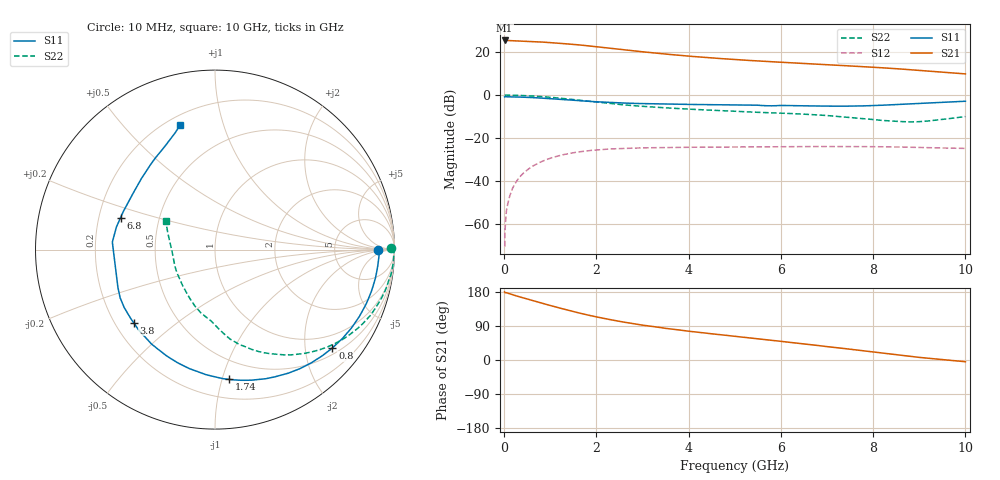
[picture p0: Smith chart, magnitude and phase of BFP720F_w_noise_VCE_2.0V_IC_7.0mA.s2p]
! Infineon Technologies  Discrete & RF Semiconductors
! BFP720F
! VCE =  2.0 V,  IC =  7.0 mA
! Common Emitter S-Parameters:  Jan 2016
# GHz  S  MA  R  50
!  f  S11  S21  S12  S22
! GHz  MAG  ANG  MAG  ANG  MAG  ANG  MAG  ANG
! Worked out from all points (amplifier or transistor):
!   233 points, 10 MHz to 10 GHz, reference 50 ohm
!   highest |S21| = 25.5 dB at 10 MHz (marker M1)
!   |S21| within 3 dB of that: start of sweep to 2.033 GHz
!   unconditionally stable (mu >= 1): start of sweep to 12.07 MHz; 7.312 GHz to end of sweep
!   at 200 MHz: K = 0.04, MSG = 34.0 dB, |S12| = -42.7 dB
!   at 1.74 GHz: K = 0.25, MSG = 24.6 dB, |S12| = -26.1 dB
!   at 10 GHz: K = 1.29, MAG = 14.1 dB, |S12| = -24.9 dB
!   lowest NFmin = 0.48 dB at 450 MHz
!   S11 on the Smith chart (normalised r, x): 10 MHz: 21, +0; 800 MHz: 0.65, -2.61; 1.74 GHz: 0.34, -1.05; 3.8 GHz: 0.28, -0.36; 6.8 GHz: 0.29, +0.15; 10 GHz: 0.25, +0.73
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0.01  0.9088 0.0  18.79 179.5  0.0003 -24.1  0.9829 0.4
0.015  0.9119 -0.5  18.67 178.6  0.0003 75.4  0.9907 -0.4
0.02  0.9151 -0.9  18.56 177.6  0.0007 100.4  0.9986 -1.2
0.05  0.9142 -2.5  18.75 177.5  0.002 85.8  0.9963 -1.7
0.16  0.9092 -8.0  18.57 173.0  0.0059 85.6  0.9945 -5.3
0.45  0.89 -22.4  17.94 162.5  0.0162 76.6  0.9714 -14.8
0.8  0.8533 -40.0  17.33 150.5  0.0278 66.2  0.9248 -26.0
1  0.8282 -49.6  16.75 143.8  0.0337 60.4  0.8889 -32.1
1.24  0.7945 -61.1  16 136.0  0.0397 53.9  0.8409 -39.1
1.68  0.7342 -81.4  14.6 122.5  0.0484 43.1  0.7483 -51.1
1.74  0.7269 -83.9  14.38 120.8  0.0493 41.7  0.7362 -52.5
2.2  0.6805 -101.4  12.71 108.8  0.0547 32.6  0.6512 -62.8
2.6  0.6523 -113.9  11.37 99.8  0.0572 26.2  0.5916 -69.9
3  0.6337 -124.0  10.23 92.0  0.0589 21.5  0.5467 -75.5
3.4  0.6195 -131.6  9.264 85.4  0.0597 17.5  0.5122 -79.5
3.8  0.6093 -138.1  8.461 79.2  0.0604 14.1  0.4834 -82.7
4.5  0.6002 -147.4  7.352 69.1  0.0613 9.5  0.4435 -87.1
5.1  0.59 -154.1  6.644 61.2  0.0619 6.2  0.4146 -90.7
6.8  0.5555 161.4  5.253 38.3  0.0632 -2.1  0.3436 -106.8
8.4  0.5946 127.1  4.197 15.3  0.062 -9.8  0.2483 -148.7
9  0.6389 116.0  3.759 6.9  0.06 -11.8  0.24 -178.5
10  0.7191 105.7  3.12 -4.6  0.0571 -13.5  0.316 150.3
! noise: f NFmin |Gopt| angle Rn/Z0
0.45  0.48  0.4  3  0.2
0.9  0.5  0.38  9  0.16
1.8  0.54  0.35  18  0.15
2.4  0.57  0.33  28  0.13
5.5  0.74  0.31  57  0.09
10  0.96  0.26  -100  0.16
